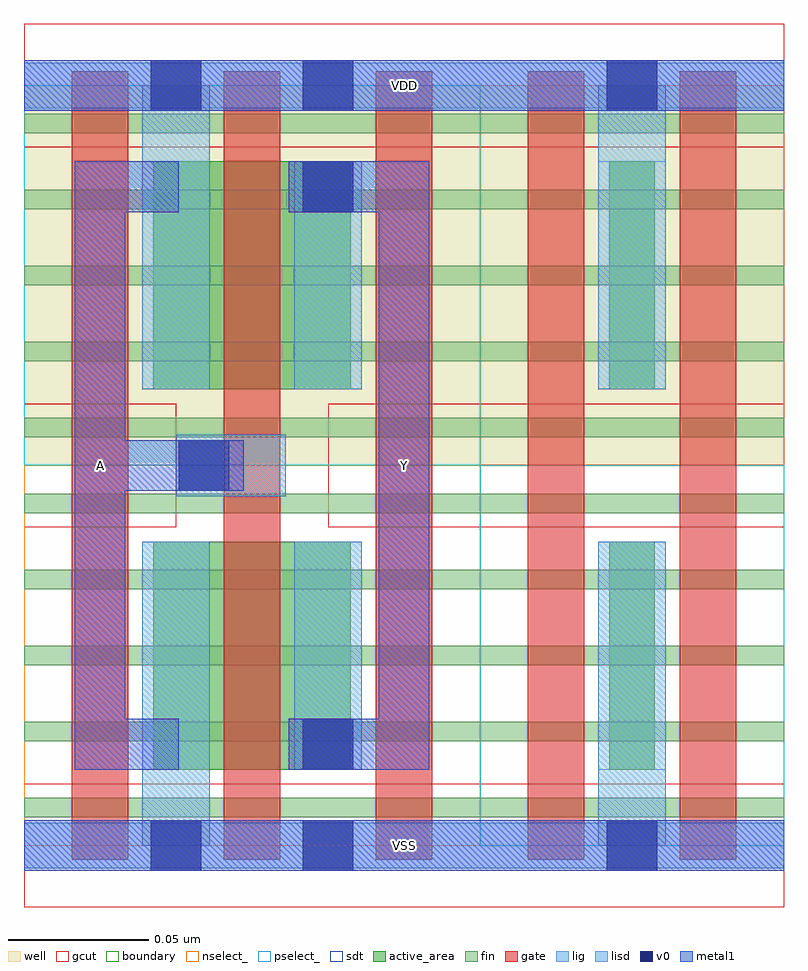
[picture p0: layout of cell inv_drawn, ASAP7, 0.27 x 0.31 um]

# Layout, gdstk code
import gdstk
lib = gdstk.Library(unit=1e-6, precision=2.5e-10)
def R(c, l, rs):  # rectangles x0, y0, x1, y1
    for r in rs: c.add(gdstk.rectangle(r[:2], r[2:], *l))
def A(c, l, x, y, w, h, nx, ny, dx, dy):  # array of equal rectangles
    R(c, l, [(x+i*dx, y+j*dy, x+i*dx+w, y+j*dy+h) for i in range(nx) for j in range(ny)])
well = (1, 0)
fin = (2, 0)
gate = (7, 0)
gcut = (10, 0)
active_area = (11, 0)
nselect_ = (12, 0)
pselect_ = (13, 0)
lig = (16, 0)
lisd = (17, 0)
v0 = (18, 0)
metal1 = (19, 0)
sdt = (88, 0)
boundary = (100, 0)

inv_drawn = lib.new_cell('inv_drawn')
R(inv_drawn, well, [(0,0.135,0.27,0.27)])
A(inv_drawn, fin, 0, 0.01, 0.27, 0.007, 1, 10, 0, 0.027)
A(inv_drawn, gate, 0.017, -0.005, 0.02, 0.28, 5, 1, 0.054, 0)
R(inv_drawn, gcut, [(0,-0.022,0.27,0.022), (0,0.113,0.054,0.157), (0.108,0.113,0.162,0.157), (0.162,0.113,0.27,0.157), (0,0.248,0.27,0.292)])
R(inv_drawn, active_area, [(0.046,0.027,0.116,0.108), (0.208,0.027,0.224,0.108), (0.046,0.162,0.116,0.243), (0.208,0.162,0.224,0.243)])
R(inv_drawn, nselect_, [(0,0,0.162,0.135), (0.162,0.135,0.27,0.27)])
R(inv_drawn, pselect_, [(0.162,0,0.27,0.135), (0,0.135,0.162,0.27)])
R(inv_drawn, lig, [(0,-0.008,0.27,0.008), (0.054,0.124,0.093,0.146), (0,0.262,0.27,0.278)])
R(inv_drawn, lisd, [(0.042,0,0.066,0.108), (0.204,0,0.228,0.108), (0.096,0.027,0.12,0.108), (0.042,0.162,0.066,0.27), (0.096,0.162,0.12,0.243), (0.204,0.162,0.228,0.27)])
R(inv_drawn, v0, [(0.045,-0.009,0.063,0.009), (0.099,-0.009,0.117,0.009), (0.207,-0.009,0.225,0.009), (0.099,0.027,0.117,0.045), (0.055,0.126,0.073,0.144), (0.099,0.225,0.117,0.243), (0.045,0.261,0.063,0.279), (0.099,0.261,0.117,0.279), (0.207,0.261,0.225,0.279)])
R(inv_drawn, metal1, [(0,-0.009,0.27,0.009), (0.018,0.027,0.036,0.243), (0.018,0.027,0.055,0.045), (0.094,0.027,0.144,0.045), (0.126,0.027,0.144,0.243), (0.018,0.126,0.078,0.144), (0.018,0.225,0.055,0.243), (0.094,0.225,0.144,0.243), (0,0.261,0.27,0.279)])
R(inv_drawn, sdt, [(0.042,0.027,0.066,0.108), (0.096,0.027,0.12,0.108), (0.204,0.027,0.228,0.108), (0.042,0.162,0.066,0.243), (0.096,0.162,0.12,0.243), (0.204,0.162,0.228,0.243)])
R(inv_drawn, boundary, [(0,0,0.27,0.27)])
inv_drawn.add(gdstk.Label('A', (0.027,0.135), layer=19, texttype=251))
inv_drawn.add(gdstk.Label('Y', (0.135,0.135), layer=19, texttype=251))
inv_drawn.add(gdstk.Label('VDD', (0.135,0.27), layer=19, texttype=251))
inv_drawn.add(gdstk.Label('VSS', (0.135,0), layer=19, texttype=251))

lib.write_gds('inv_drawn.gds')
